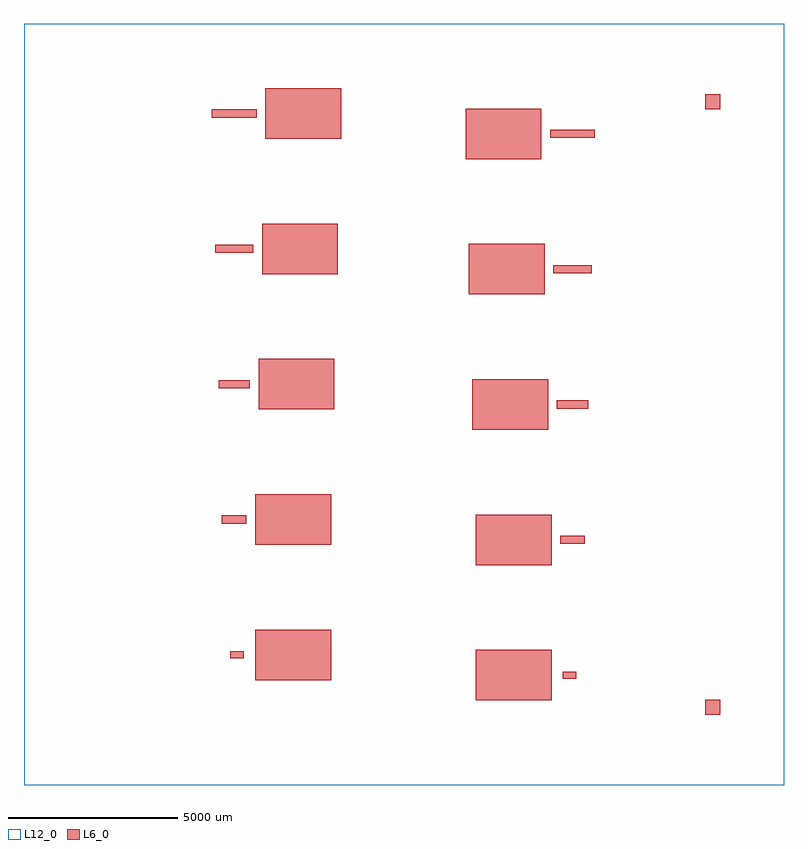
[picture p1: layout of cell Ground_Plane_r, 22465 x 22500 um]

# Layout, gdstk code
import gdstk
lib = gdstk.Library(unit=1e-6, precision=1e-09)
def R(c, l, rs):  # rectangles x0, y0, x1, y1
    for r in rs: c.add(gdstk.rectangle(r[:2], r[2:], *l))
def P(c, l, *ps):  # polygons
    for p in ps: c.add(gdstk.Polygon(p, *l))
L6_0 = (6, 0)
L12_0 = (12, 0)

ground_plane_r = lib.new_cell('Ground_Plane_r')
R(ground_plane_r, L6_0, [(9277.823,-8930.203,9717.823,-8490.203), (2489.867,-8510.022,4731.867,-7017.022), (-4026.133,-7910.523,-1784.133,-6417.523), (5063.823,-7864.453,5463.823,-7664.453), (-4761.677,-7264.453,-4361.677,-7064.453), (2489.867,-4510.022,4731.867,-3017.022), (-4026.133,-3910.523,-1784.133,-2417.523), (2389.867,-510.022,4631.867,982.978), (-3926.133,89.477,-1684.133,1582.477), (2289.867,3489.978,4531.867,4982.978), (-3826.133,4089.477,-1584.133,5582.477), (2189.867,7489.978,4431.867,8982.978), (-3726.133,8089.477,-1484.133,9582.477), (9277.823,8962.297,9717.823,9402.297)])
P(ground_plane_r, L6_0, [(4689.323,8116.047),(6012.823,8116.047),(6012.823,8232.547),(5582.823,8232.547),(5582.823,8222.047),(5566.323,8222.047),(5566.323,8250.047),(5582.823,8250.047),(5582.823,8239.547),(6012.823,8239.547),(6012.823,8356.047),(4689.323,8356.047)],
  [(4789.323,4116.047),(5912.823,4116.047),(5912.823,4232.547),(5582.823,4232.547),(5582.823,4222.047),(5566.323,4222.047),(5566.323,4250.047),(5582.823,4250.047),(5582.823,4239.547),(5912.823,4239.547),(5912.823,4356.047),(4789.323,4356.047)],
  [(4889.323,116.047),(5812.823,116.047),(5812.823,232.547),(5582.823,232.547),(5582.823,222.047),(5566.323,222.047),(5566.323,250.047),(5582.823,250.047),(5582.823,239.547),(5812.823,239.547),(5812.823,356.047),(4889.323,356.047)],
  [(4989.323,-3883.953),(5712.823,-3883.953),(5712.823,-3767.453),(5582.823,-3767.453),(5582.823,-3777.953),(5566.323,-3777.953),(5566.323,-3749.953),(5582.823,-3749.953),(5582.823,-3760.453),(5712.823,-3760.453),(5712.823,-3643.953),(4989.323,-3643.953)],
  [(-5310.677,8716.047),(-3987.177,8716.047),(-3987.177,8956.047),(-5310.677,8956.047),(-5310.677,8839.547),(-4880.677,8839.547),(-4880.677,8850.047),(-4864.177,8850.047),(-4864.177,8822.047),(-4880.677,8822.047),(-4880.677,8832.547),(-5310.677,8832.547)],
  [(-5210.677,4716.047),(-4087.177,4716.047),(-4087.177,4956.047),(-5210.677,4956.047),(-5210.677,4839.547),(-4880.677,4839.547),(-4880.677,4850.047),(-4864.177,4850.047),(-4864.177,4822.047),(-4880.677,4822.047),(-4880.677,4832.547),(-5210.677,4832.547)],
  [(-5110.677,716.047),(-4187.177,716.047),(-4187.177,956.047),(-5110.677,956.047),(-5110.677,839.547),(-4880.677,839.547),(-4880.677,850.047),(-4864.177,850.047),(-4864.177,822.047),(-4880.677,822.047),(-4880.677,832.547),(-5110.677,832.547)],
  [(-5010.677,-3283.953),(-4287.177,-3283.953),(-4287.177,-3043.953),(-5010.677,-3043.953),(-5010.677,-3160.453),(-4880.677,-3160.453),(-4880.677,-3149.953),(-4864.177,-3149.953),(-4864.177,-3177.953),(-4880.677,-3177.953),(-4880.677,-3167.453),(-5010.677,-3167.453)])
R(ground_plane_r, L12_0, [(-10862.177,-11013.953,11602.823,11486.047)])

lib.write_gds('Ground_Plane_r.gds')
